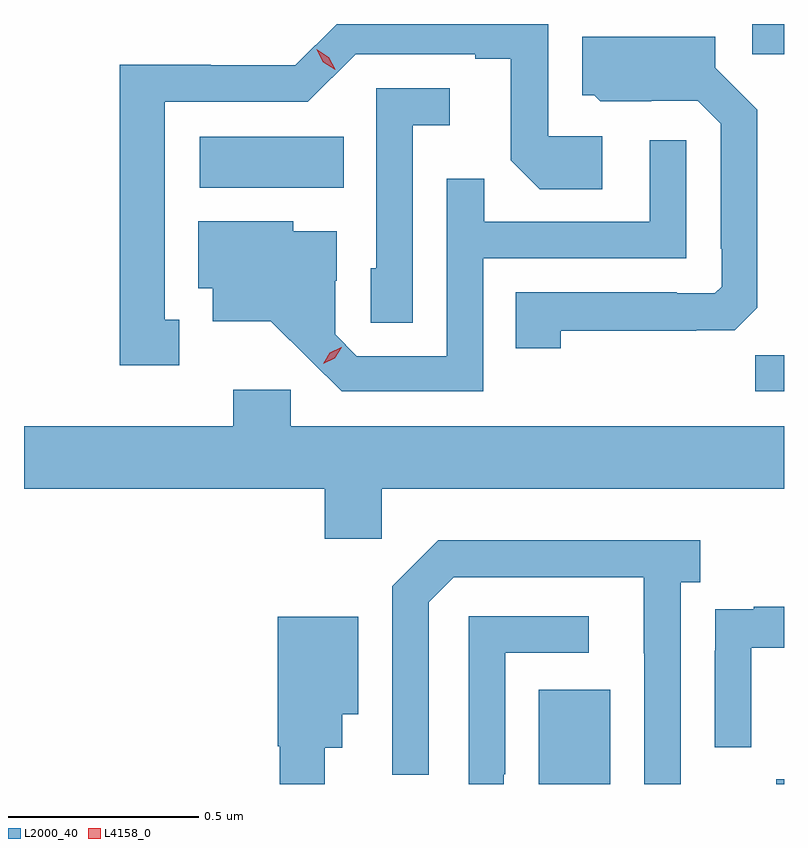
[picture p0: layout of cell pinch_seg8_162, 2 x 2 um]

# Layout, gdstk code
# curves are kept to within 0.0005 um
import gdstk
lib = gdstk.Library(unit=1e-6, precision=1e-09)
def R(c, l, rs):  # rectangles x0, y0, x1, y1
    for r in rs: c.add(gdstk.rectangle(r[:2], r[2:], *l))
def P(c, l, *ps):  # polygons
    for p in ps: c.add(gdstk.Polygon(p, *l))
L2000_40 = (2000, 40)
L4158_0 = (4158, 0)

pinch_seg8_162 = lib.new_cell('pinch_seg8_162')
R(pinch_seg8_162, L2000_40, [(701.039,1161.011,701.227,1161.259), (701.663,1161.011,701.684,1161.024), (701.608,1162.044,701.684,1162.139), (700.146,1162.58,700.526,1162.714), (701.601,1162.932,701.684,1163.011)])
P(pinch_seg8_162, L2000_40, [(700.093,1162.233),(700.054,1162.233),(700.054,1162.806),(700.431,1162.806),(700.557,1162.932),(700.871,1162.932),(700.871,1162.92),(700.965,1162.92),(700.965,1162.652),(701.041,1162.576),(701.206,1162.576),(701.206,1162.716),(701.064,1162.716),(701.064,1163.011),(700.507,1163.011),(700.398,1162.902),(700.176,1162.902),(700.176,1162.904),(699.936,1162.904),(699.936,1162.113),(700.093,1162.113)],
  [(701.097,1162.204),(701.453,1162.204),(701.453,1162.205),(701.554,1162.205),(701.613,1162.264),(701.613,1162.786),(701.503,1162.896),(701.503,1162.978),(701.153,1162.978),(701.153,1162.824),(701.184,1162.824),(701.2,1162.808),(701.334,1162.808),(701.334,1162.809),(701.457,1162.809),(701.517,1162.749),(701.517,1162.42),(701.52,1162.42),(701.52,1162.32),(701.502,1162.302),(701.402,1162.302),(701.402,1162.305),(700.978,1162.305),(700.978,1162.158),(701.097,1162.158)],
  [(700.707,1162.745),(700.804,1162.745),(700.804,1162.842),(700.611,1162.842),(700.611,1162.368),(700.596,1162.368),(700.596,1162.225),(700.707,1162.225)],
  [(700.893,1162.395),(701.427,1162.395),(701.427,1162.705),(701.331,1162.705),(701.331,1162.491),(700.895,1162.491),(700.895,1162.604),(700.797,1162.604),(700.797,1162.137),(700.56,1162.137),(700.503,1162.194),(700.503,1162.336),(700.507,1162.336),(700.507,1162.465),(700.392,1162.465),(700.392,1162.492),(700.142,1162.492),(700.142,1162.316),(700.181,1162.316),(700.181,1162.229),(700.333,1162.229),(700.52,1162.044),(700.893,1162.044)],
  [(700.626,1161.788),(701.684,1161.788),(701.684,1161.952),(700.386,1161.952),(700.386,1162.048),(700.235,1162.048),(700.235,1161.952),(699.684,1161.952),(699.684,1161.788),(700.475,1161.788),(700.475,1161.657),(700.626,1161.657)],
  [(701.412,1161.542),(701.464,1161.542),(701.464,1161.652),(700.774,1161.652),(700.653,1161.531),(700.653,1161.036),(700.749,1161.036),(700.749,1161.489),(700.815,1161.555),(701.315,1161.555),(701.315,1161.355),(701.316,1161.355),(701.316,1161.011),(701.412,1161.011)],
  [(701.598,1161.369),(701.684,1161.369),(701.684,1161.478),(701.605,1161.478),(701.605,1161.471),(701.503,1161.471),(701.503,1161.362),(701.502,1161.362),(701.502,1161.108),(701.598,1161.108)],
  [(700.947,1161.037),(700.95,1161.037),(700.95,1161.357),(701.17,1161.357),(701.17,1161.453),(700.854,1161.453),(700.854,1161.011),(700.947,1161.011)],
  [(700.475,1161.107),(700.522,1161.107),(700.522,1161.194),(700.564,1161.194),(700.564,1161.451),(700.352,1161.451),(700.352,1161.111),(700.357,1161.111),(700.357,1161.011),(700.475,1161.011)])
P(pinch_seg8_162, L4158_0, [(700.471,1162.117),(700.471,1162.117),(700.489,1162.146),(700.519,1162.16),(700.52,1162.16),(700.52,1162.16),(700.502,1162.131),(700.471,1162.117)],
  [(700.503,1162.891),(700.471,1162.911),(700.454,1162.943),(700.454,1162.944),(700.455,1162.944),(700.486,1162.924),(700.503,1162.892),(700.503,1162.891)])

lib.write_gds('pinch_seg8_162.gds')
